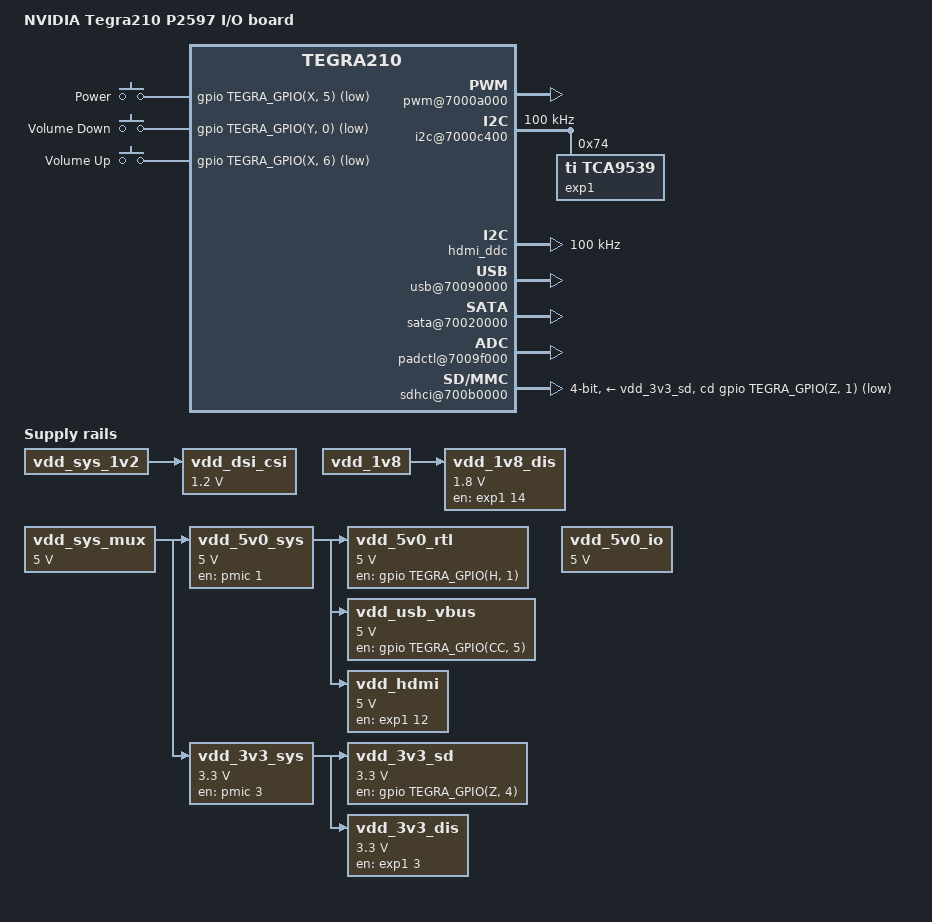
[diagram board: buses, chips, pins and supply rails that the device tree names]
// SPDX-License-Identifier: GPL-2.0
#include <dt-bindings/input/input.h>

/ {
	model = "NVIDIA Tegra210 P2597 I/O board";
	compatible = "nvidia,p2597", "nvidia,tegra210";

	host1x@50000000 {
		dpaux@54040000 {
			status = "okay";
		};

		sor@54580000 {
			status = "okay";

			avdd-io-supply = <&avdd_1v05>;
			vdd-pll-supply = <&vdd_1v8>;
			hdmi-supply = <&vdd_hdmi>;

			nvidia,ddc-i2c-bus = <&hdmi_ddc>;
			nvidia,hpd-gpio = <&gpio TEGRA_GPIO(CC, 1)
					   GPIO_ACTIVE_LOW>;
		};
	};

	pinmux: pinmux@700008d4 {
		pinctrl-names = "boot";
		pinctrl-0 = <&state_boot>;

		state_boot: pinmux {
			pex_l0_rst_n_pa0 {
				nvidia,pins = "pex_l0_rst_n_pa0";
				nvidia,function = "pe0";
				nvidia,pull = <TEGRA_PIN_PULL_NONE>;
				nvidia,tristate = <TEGRA_PIN_DISABLE>;
				nvidia,enable-input = <TEGRA_PIN_DISABLE>;
				nvidia,open-drain = <TEGRA_PIN_DISABLE>;
				nvidia,io-hv = <TEGRA_PIN_ENABLE>;
			};
			pex_l0_clkreq_n_pa1 {
				nvidia,pins = "pex_l0_clkreq_n_pa1";
				nvidia,function = "pe0";
				nvidia,pull = <TEGRA_PIN_PULL_NONE>;
				nvidia,tristate = <TEGRA_PIN_DISABLE>;
				nvidia,enable-input = <TEGRA_PIN_ENABLE>;
				nvidia,open-drain = <TEGRA_PIN_DISABLE>;
				nvidia,io-hv = <TEGRA_PIN_ENABLE>;
			};
			pex_wake_n_pa2 {
				nvidia,pins = "pex_wake_n_pa2";
				nvidia,function = "pe";
				nvidia,pull = <TEGRA_PIN_PULL_NONE>;
				nvidia,tristate = <TEGRA_PIN_DISABLE>;
				nvidia,enable-input = <TEGRA_PIN_ENABLE>;
				nvidia,open-drain = <TEGRA_PIN_DISABLE>;
				nvidia,io-hv = <TEGRA_PIN_ENABLE>;
			};
			pex_l1_rst_n_pa3 {
				nvidia,pins = "pex_l1_rst_n_pa3";
				nvidia,function = "pe1";
				nvidia,pull = <TEGRA_PIN_PULL_NONE>;
				nvidia,tristate = <TEGRA_PIN_DISABLE>;
				nvidia,enable-input = <TEGRA_PIN_DISABLE>;
				nvidia,open-drain = <TEGRA_PIN_DISABLE>;
				nvidia,io-hv = <TEGRA_PIN_ENABLE>;
			};
			pex_l1_clkreq_n_pa4 {
				nvidia,pins = "pex_l1_clkreq_n_pa4";
				nvidia,function = "pe1";
				nvidia,pull = <TEGRA_PIN_PULL_NONE>;
				nvidia,tristate = <TEGRA_PIN_DISABLE>;
				nvidia,enable-input = <TEGRA_PIN_ENABLE>;
				nvidia,open-drain = <TEGRA_PIN_DISABLE>;
				nvidia,io-hv = <TEGRA_PIN_ENABLE>;
			};
			sata_led_active_pa5 {
				nvidia,pins = "sata_led_active_pa5";
				nvidia,pull = <TEGRA_PIN_PULL_UP>;
				nvidia,tristate = <TEGRA_PIN_DISABLE>;
				nvidia,enable-input = <TEGRA_PIN_ENABLE>;
				nvidia,open-drain = <TEGRA_PIN_DISABLE>;
			};
			pa6 {
				nvidia,pins = "pa6";
				nvidia,function = "sata";
				nvidia,pull = <TEGRA_PIN_PULL_NONE>;
				nvidia,tristate = <TEGRA_PIN_DISABLE>;
				nvidia,enable-input = <TEGRA_PIN_DISABLE>;
				nvidia,open-drain = <TEGRA_PIN_DISABLE>;
			};
			dap1_fs_pb0 {
				nvidia,pins = "dap1_fs_pb0";
				nvidia,pull = <TEGRA_PIN_PULL_DOWN>;
				nvidia,tristate = <TEGRA_PIN_DISABLE>;
				nvidia,enable-input = <TEGRA_PIN_ENABLE>;
				nvidia,open-drain = <TEGRA_PIN_DISABLE>;
			};
			dap1_din_pb1 {
				nvidia,pins = "dap1_din_pb1";
				nvidia,pull = <TEGRA_PIN_PULL_DOWN>;
				nvidia,tristate = <TEGRA_PIN_DISABLE>;
				nvidia,enable-input = <TEGRA_PIN_ENABLE>;
				nvidia,open-drain = <TEGRA_PIN_DISABLE>;
			};
			dap1_dout_pb2 {
				nvidia,pins = "dap1_dout_pb2";
				nvidia,pull = <TEGRA_PIN_PULL_DOWN>;
				nvidia,tristate = <TEGRA_PIN_DISABLE>;
				nvidia,enable-input = <TEGRA_PIN_ENABLE>;
				nvidia,open-drain = <TEGRA_PIN_DISABLE>;
			};
			dap1_sclk_pb3 {
				nvidia,pins = "dap1_sclk_pb3";
				nvidia,pull = <TEGRA_PIN_PULL_DOWN>;
				nvidia,tristate = <TEGRA_PIN_DISABLE>;
				nvidia,enable-input = <TEGRA_PIN_ENABLE>;
				nvidia,open-drain = <TEGRA_PIN_DISABLE>;
			};
			spi2_mosi_pb4 {
				nvidia,pins = "spi2_mosi_pb4";
				nvidia,function = "spi2";
				nvidia,pull = <TEGRA_PIN_PULL_NONE>;
				nvidia,tristate = <TEGRA_PIN_DISABLE>;
				nvidia,enable-input = <TEGRA_PIN_ENABLE>;
				nvidia,open-drain = <TEGRA_PIN_DISABLE>;
			};
			spi2_miso_pb5 {
				nvidia,pins = "spi2_miso_pb5";
				nvidia,function = "spi2";
				nvidia,pull = <TEGRA_PIN_PULL_NONE>;
				nvidia,tristate = <TEGRA_PIN_DISABLE>;
				nvidia,enable-input = <TEGRA_PIN_ENABLE>;
				nvidia,open-drain = <TEGRA_PIN_DISABLE>;
			};
			spi2_sck_pb6 {
				nvidia,pins = "spi2_sck_pb6";
				nvidia,function = "spi2";
				nvidia,pull = <TEGRA_PIN_PULL_NONE>;
				nvidia,tristate = <TEGRA_PIN_DISABLE>;
				nvidia,enable-input = <TEGRA_PIN_ENABLE>;
				nvidia,open-drain = <TEGRA_PIN_DISABLE>;
			};
			spi2_cs0_pb7 {
				nvidia,pins = "spi2_cs0_pb7";
				nvidia,function = "spi2";
				nvidia,pull = <TEGRA_PIN_PULL_UP>;
				nvidia,tristate = <TEGRA_PIN_DISABLE>;
				nvidia,enable-input = <TEGRA_PIN_ENABLE>;
				nvidia,open-drain = <TEGRA_PIN_DISABLE>;
			};
			spi1_mosi_pc0 {
				nvidia,pins = "spi1_mosi_pc0";
				nvidia,pull = <TEGRA_PIN_PULL_DOWN>;
				nvidia,tristate = <TEGRA_PIN_DISABLE>;
				nvidia,enable-input = <TEGRA_PIN_ENABLE>;
				nvidia,open-drain = <TEGRA_PIN_DISABLE>;
			};
			spi1_miso_pc1 {
				nvidia,pins = "spi1_miso_pc1";
				nvidia,pull = <TEGRA_PIN_PULL_DOWN>;
				nvidia,tristate = <TEGRA_PIN_DISABLE>;
				nvidia,enable-input = <TEGRA_PIN_ENABLE>;
				nvidia,open-drain = <TEGRA_PIN_DISABLE>;
			};
			spi1_sck_pc2 {
				nvidia,pins = "spi1_sck_pc2";
				nvidia,pull = <TEGRA_PIN_PULL_DOWN>;
				nvidia,tristate = <TEGRA_PIN_DISABLE>;
				nvidia,enable-input = <TEGRA_PIN_ENABLE>;
				nvidia,open-drain = <TEGRA_PIN_DISABLE>;
			};
			spi1_cs0_pc3 {
				nvidia,pins = "spi1_cs0_pc3";
				nvidia,pull = <TEGRA_PIN_PULL_UP>;
				nvidia,tristate = <TEGRA_PIN_DISABLE>;
				nvidia,enable-input = <TEGRA_PIN_ENABLE>;
				nvidia,open-drain = <TEGRA_PIN_DISABLE>;
			};
			spi1_cs1_pc4 {
				nvidia,pins = "spi1_cs1_pc4";
				nvidia,pull = <TEGRA_PIN_PULL_UP>;
				nvidia,tristate = <TEGRA_PIN_DISABLE>;
				nvidia,enable-input = <TEGRA_PIN_ENABLE>;
				nvidia,open-drain = <TEGRA_PIN_DISABLE>;
			};
			spi4_sck_pc5 {
				nvidia,pins = "spi4_sck_pc5";
				nvidia,function = "spi4";
				nvidia,pull = <TEGRA_PIN_PULL_DOWN>;
				nvidia,tristate = <TEGRA_PIN_DISABLE>;
				nvidia,enable-input = <TEGRA_PIN_ENABLE>;
				nvidia,open-drain = <TEGRA_PIN_DISABLE>;
			};
			spi4_cs0_pc6 {
				nvidia,pins = "spi4_cs0_pc6";
				nvidia,function = "spi4";
				nvidia,pull = <TEGRA_PIN_PULL_UP>;
				nvidia,tristate = <TEGRA_PIN_DISABLE>;
				nvidia,enable-input = <TEGRA_PIN_ENABLE>;
				nvidia,open-drain = <TEGRA_PIN_DISABLE>;
			};
			spi4_mosi_pc7 {
				nvidia,pins = "spi4_mosi_pc7";
				nvidia,function = "spi4";
				nvidia,pull = <TEGRA_PIN_PULL_DOWN>;
				nvidia,tristate = <TEGRA_PIN_DISABLE>;
				nvidia,enable-input = <TEGRA_PIN_ENABLE>;
				nvidia,open-drain = <TEGRA_PIN_DISABLE>;
			};
			spi4_miso_pd0 {
				nvidia,pins = "spi4_miso_pd0";
				nvidia,function = "spi4";
				nvidia,pull = <TEGRA_PIN_PULL_DOWN>;
				nvidia,tristate = <TEGRA_PIN_DISABLE>;
				nvidia,enable-input = <TEGRA_PIN_ENABLE>;
				nvidia,open-drain = <TEGRA_PIN_DISABLE>;
			};
			uart3_tx_pd1 {
				nvidia,pins = "uart3_tx_pd1";
				nvidia,function = "uartc";
				nvidia,pull = <TEGRA_PIN_PULL_NONE>;
				nvidia,tristate = <TEGRA_PIN_DISABLE>;
				nvidia,enable-input = <TEGRA_PIN_DISABLE>;
				nvidia,open-drain = <TEGRA_PIN_DISABLE>;
			};
			uart3_rx_pd2 {
				nvidia,pins = "uart3_rx_pd2";
				nvidia,function = "uartc";
				nvidia,pull = <TEGRA_PIN_PULL_UP>;
				nvidia,tristate = <TEGRA_PIN_DISABLE>;
				nvidia,enable-input = <TEGRA_PIN_ENABLE>;
				nvidia,open-drain = <TEGRA_PIN_DISABLE>;
			};
			uart3_rts_pd3 {
				nvidia,pins = "uart3_rts_pd3";
				nvidia,function = "uartc";
				nvidia,pull = <TEGRA_PIN_PULL_NONE>;
				nvidia,tristate = <TEGRA_PIN_DISABLE>;
				nvidia,enable-input = <TEGRA_PIN_DISABLE>;
				nvidia,open-drain = <TEGRA_PIN_DISABLE>;
			};
			uart3_cts_pd4 {
				nvidia,pins = "uart3_cts_pd4";
				nvidia,function = "uartc";
				nvidia,pull = <TEGRA_PIN_PULL_UP>;
				nvidia,tristate = <TEGRA_PIN_DISABLE>;
				nvidia,enable-input = <TEGRA_PIN_ENABLE>;
				nvidia,open-drain = <TEGRA_PIN_DISABLE>;
			};
			dmic1_clk_pe0 {
				nvidia,pins = "dmic1_clk_pe0";
				nvidia,function = "i2s3";
				nvidia,pull = <TEGRA_PIN_PULL_NONE>;
				nvidia,tristate = <TEGRA_PIN_DISABLE>;
				nvidia,enable-input = <TEGRA_PIN_ENABLE>;
				nvidia,open-drain = <TEGRA_PIN_DISABLE>;
			};
			dmic1_dat_pe1 {
				nvidia,pins = "dmic1_dat_pe1";
				nvidia,function = "i2s3";
				nvidia,pull = <TEGRA_PIN_PULL_NONE>;
				nvidia,tristate = <TEGRA_PIN_DISABLE>;
				nvidia,enable-input = <TEGRA_PIN_ENABLE>;
				nvidia,open-drain = <TEGRA_PIN_DISABLE>;
			};
			dmic2_clk_pe2 {
				nvidia,pins = "dmic2_clk_pe2";
				nvidia,function = "i2s3";
				nvidia,pull = <TEGRA_PIN_PULL_NONE>;
				nvidia,tristate = <TEGRA_PIN_DISABLE>;
				nvidia,enable-input = <TEGRA_PIN_ENABLE>;
				nvidia,open-drain = <TEGRA_PIN_DISABLE>;
			};
			dmic2_dat_pe3 {
				nvidia,pins = "dmic2_dat_pe3";
				nvidia,function = "i2s3";
				nvidia,pull = <TEGRA_PIN_PULL_NONE>;
				nvidia,tristate = <TEGRA_PIN_DISABLE>;
				nvidia,enable-input = <TEGRA_PIN_ENABLE>;
				nvidia,open-drain = <TEGRA_PIN_DISABLE>;
			};
			dmic3_clk_pe4 {
				nvidia,pins = "dmic3_clk_pe4";
				nvidia,pull = <TEGRA_PIN_PULL_DOWN>;
				nvidia,tristate = <TEGRA_PIN_DISABLE>;
				nvidia,enable-input = <TEGRA_PIN_ENABLE>;
				nvidia,open-drain = <TEGRA_PIN_DISABLE>;
			};
			dmic3_dat_pe5 {
				nvidia,pins = "dmic3_dat_pe5";
				nvidia,pull = <TEGRA_PIN_PULL_DOWN>;
				nvidia,tristate = <TEGRA_PIN_DISABLE>;
				nvidia,enable-input = <TEGRA_PIN_ENABLE>;
				nvidia,open-drain = <TEGRA_PIN_DISABLE>;
			};
			pe6 {
				nvidia,pins = "pe6";
				nvidia,pull = <TEGRA_PIN_PULL_DOWN>;
				nvidia,tristate = <TEGRA_PIN_DISABLE>;
				nvidia,enable-input = <TEGRA_PIN_ENABLE>;
				nvidia,open-drain = <TEGRA_PIN_DISABLE>;
			};
			pe7 {
				nvidia,pins = "pe7";
				nvidia,function = "pwm3";
				nvidia,pull = <TEGRA_PIN_PULL_NONE>;
				nvidia,tristate = <TEGRA_PIN_DISABLE>;
				nvidia,enable-input = <TEGRA_PIN_DISABLE>;
				nvidia,open-drain = <TEGRA_PIN_DISABLE>;
			};
			gen3_i2c_scl_pf0 {
				nvidia,pins = "gen3_i2c_scl_pf0";
				nvidia,function = "i2c3";
				nvidia,pull = <TEGRA_PIN_PULL_NONE>;
				nvidia,tristate = <TEGRA_PIN_DISABLE>;
				nvidia,enable-input = <TEGRA_PIN_ENABLE>;
				nvidia,open-drain = <TEGRA_PIN_DISABLE>;
				nvidia,io-hv = <TEGRA_PIN_DISABLE>;
			};
			gen3_i2c_sda_pf1 {
				nvidia,pins = "gen3_i2c_sda_pf1";
				nvidia,function = "i2c3";
				nvidia,pull = <TEGRA_PIN_PULL_NONE>;
				nvidia,tristate = <TEGRA_PIN_DISABLE>;
				nvidia,enable-input = <TEGRA_PIN_ENABLE>;
				nvidia,open-drain = <TEGRA_PIN_DISABLE>;
				nvidia,io-hv = <TEGRA_PIN_DISABLE>;
			};
			uart2_tx_pg0 {
				nvidia,pins = "uart2_tx_pg0";
				nvidia,function = "uartb";
				nvidia,pull = <TEGRA_PIN_PULL_NONE>;
				nvidia,tristate = <TEGRA_PIN_DISABLE>;
				nvidia,enable-input = <TEGRA_PIN_DISABLE>;
				nvidia,open-drain = <TEGRA_PIN_DISABLE>;
			};
			uart2_rx_pg1 {
				nvidia,pins = "uart2_rx_pg1";
				nvidia,function = "uartb";
				nvidia,pull = <TEGRA_PIN_PULL_UP>;
				nvidia,tristate = <TEGRA_PIN_DISABLE>;
				nvidia,enable-input = <TEGRA_PIN_ENABLE>;
				nvidia,open-drain = <TEGRA_PIN_DISABLE>;
			};
			uart2_rts_pg2 {
				nvidia,pins = "uart2_rts_pg2";
				nvidia,function = "uartb";
				nvidia,pull = <TEGRA_PIN_PULL_NONE>;
				nvidia,tristate = <TEGRA_PIN_DISABLE>;
				nvidia,enable-input = <TEGRA_PIN_DISABLE>;
				nvidia,open-drain = <TEGRA_PIN_DISABLE>;
			};
			uart2_cts_pg3 {
				nvidia,pins = "uart2_cts_pg3";
				nvidia,function = "uartb";
				nvidia,pull = <TEGRA_PIN_PULL_UP>;
				nvidia,tristate = <TEGRA_PIN_DISABLE>;
				nvidia,enable-input = <TEGRA_PIN_ENABLE>;
				nvidia,open-drain = <TEGRA_PIN_DISABLE>;
			};
			wifi_en_ph0 {
				nvidia,pins = "wifi_en_ph0";
				nvidia,pull = <TEGRA_PIN_PULL_NONE>;
				nvidia,tristate = <TEGRA_PIN_DISABLE>;
				nvidia,enable-input = <TEGRA_PIN_DISABLE>;
				nvidia,open-drain = <TEGRA_PIN_DISABLE>;
			};
			wifi_rst_ph1 {
				nvidia,pins = "wifi_rst_ph1";
				nvidia,pull = <TEGRA_PIN_PULL_NONE>;
				nvidia,tristate = <TEGRA_PIN_DISABLE>;
				nvidia,enable-input = <TEGRA_PIN_DISABLE>;
				nvidia,open-drain = <TEGRA_PIN_DISABLE>;
			};
			wifi_wake_ap_ph2 {
				nvidia,pins = "wifi_wake_ap_ph2";
				nvidia,pull = <TEGRA_PIN_PULL_UP>;
				nvidia,tristate = <TEGRA_PIN_DISABLE>;
				nvidia,enable-input = <TEGRA_PIN_ENABLE>;
				nvidia,open-drain = <TEGRA_PIN_DISABLE>;
			};
			ap_wake_bt_ph3 {
				nvidia,pins = "ap_wake_bt_ph3";
				nvidia,pull = <TEGRA_PIN_PULL_NONE>;
				nvidia,tristate = <TEGRA_PIN_DISABLE>;
				nvidia,enable-input = <TEGRA_PIN_DISABLE>;
				nvidia,open-drain = <TEGRA_PIN_DISABLE>;
			};
			bt_rst_ph4 {
				nvidia,pins = "bt_rst_ph4";
				nvidia,pull = <TEGRA_PIN_PULL_NONE>;
				nvidia,tristate = <TEGRA_PIN_DISABLE>;
				nvidia,enable-input = <TEGRA_PIN_DISABLE>;
				nvidia,open-drain = <TEGRA_PIN_DISABLE>;
			};
			bt_wake_ap_ph5 {
				nvidia,pins = "bt_wake_ap_ph5";
				nvidia,pull = <TEGRA_PIN_PULL_UP>;
				nvidia,tristate = <TEGRA_PIN_DISABLE>;
				nvidia,enable-input = <TEGRA_PIN_ENABLE>;
				nvidia,open-drain = <TEGRA_PIN_DISABLE>;
			};
			ph6 {
				nvidia,pins = "ph6";
				nvidia,pull = <TEGRA_PIN_PULL_UP>;
				nvidia,tristate = <TEGRA_PIN_DISABLE>;
				nvidia,enable-input = <TEGRA_PIN_ENABLE>;
				nvidia,open-drain = <TEGRA_PIN_DISABLE>;
			};
			ap_wake_nfc_ph7 {
				nvidia,pins = "ap_wake_nfc_ph7";
				nvidia,pull = <TEGRA_PIN_PULL_DOWN>;
				nvidia,tristate = <TEGRA_PIN_DISABLE>;
				nvidia,enable-input = <TEGRA_PIN_ENABLE>;
				nvidia,open-drain = <TEGRA_PIN_DISABLE>;
			};
			nfc_en_pi0 {
				nvidia,pins = "nfc_en_pi0";
				nvidia,pull = <TEGRA_PIN_PULL_NONE>;
				nvidia,tristate = <TEGRA_PIN_DISABLE>;
				nvidia,enable-input = <TEGRA_PIN_DISABLE>;
				nvidia,open-drain = <TEGRA_PIN_DISABLE>;
			};
			nfc_int_pi1 {
				nvidia,pins = "nfc_int_pi1";
				nvidia,pull = <TEGRA_PIN_PULL_UP>;
				nvidia,tristate = <TEGRA_PIN_DISABLE>;
				nvidia,enable-input = <TEGRA_PIN_ENABLE>;
				nvidia,open-drain = <TEGRA_PIN_DISABLE>;
			};
			gps_en_pi2 {
				nvidia,pins = "gps_en_pi2";
				nvidia,pull = <TEGRA_PIN_PULL_NONE>;
				nvidia,tristate = <TEGRA_PIN_DISABLE>;
				nvidia,enable-input = <TEGRA_PIN_DISABLE>;
				nvidia,open-drain = <TEGRA_PIN_DISABLE>;
			};
			gps_rst_pi3 {
				nvidia,pins = "gps_rst_pi3";
				nvidia,function = "rsvd0";
				nvidia,pull = <TEGRA_PIN_PULL_DOWN>;
				nvidia,tristate = <TEGRA_PIN_ENABLE>;
				nvidia,enable-input = <TEGRA_PIN_DISABLE>;
				nvidia,open-drain = <TEGRA_PIN_DISABLE>;
			};
			uart4_tx_pi4 {
				nvidia,pins = "uart4_tx_pi4";
				nvidia,function = "uartd";
				nvidia,pull = <TEGRA_PIN_PULL_NONE>;
				nvidia,tristate = <TEGRA_PIN_DISABLE>;
				nvidia,enable-input = <TEGRA_PIN_DISABLE>;
				nvidia,open-drain = <TEGRA_PIN_DISABLE>;
			};
			uart4_rx_pi5 {
				nvidia,pins = "uart4_rx_pi5";
				nvidia,function = "uartd";
				nvidia,pull = <TEGRA_PIN_PULL_NONE>;
				nvidia,tristate = <TEGRA_PIN_DISABLE>;
				nvidia,enable-input = <TEGRA_PIN_ENABLE>;
				nvidia,open-drain = <TEGRA_PIN_DISABLE>;
			};
			uart4_rts_pi6 {
				nvidia,pins = "uart4_rts_pi6";
				nvidia,function = "uartd";
				nvidia,pull = <TEGRA_PIN_PULL_NONE>;
				nvidia,tristate = <TEGRA_PIN_DISABLE>;
				nvidia,enable-input = <TEGRA_PIN_DISABLE>;
				nvidia,open-drain = <TEGRA_PIN_DISABLE>;
			};
			uart4_cts_pi7 {
				nvidia,pins = "uart4_cts_pi7";
				nvidia,function = "uartd";
				nvidia,pull = <TEGRA_PIN_PULL_NONE>;
				nvidia,tristate = <TEGRA_PIN_DISABLE>;
				nvidia,enable-input = <TEGRA_PIN_ENABLE>;
				nvidia,open-drain = <TEGRA_PIN_DISABLE>;
			};
			gen1_i2c_sda_pj0 {
				nvidia,pins = "gen1_i2c_sda_pj0";
				nvidia,function = "i2c1";
				nvidia,pull = <TEGRA_PIN_PULL_NONE>;
				nvidia,tristate = <TEGRA_PIN_DISABLE>;
				nvidia,enable-input = <TEGRA_PIN_ENABLE>;
				nvidia,open-drain = <TEGRA_PIN_DISABLE>;
				nvidia,io-hv = <TEGRA_PIN_DISABLE>;
			};
			gen1_i2c_scl_pj1 {
				nvidia,pins = "gen1_i2c_scl_pj1";
				nvidia,function = "i2c1";
				nvidia,pull = <TEGRA_PIN_PULL_NONE>;
				nvidia,tristate = <TEGRA_PIN_DISABLE>;
				nvidia,enable-input = <TEGRA_PIN_ENABLE>;
				nvidia,open-drain = <TEGRA_PIN_DISABLE>;
				nvidia,io-hv = <TEGRA_PIN_DISABLE>;
			};
			gen2_i2c_scl_pj2 {
				nvidia,pins = "gen2_i2c_scl_pj2";
				nvidia,function = "i2c2";
				nvidia,pull = <TEGRA_PIN_PULL_NONE>;
				nvidia,tristate = <TEGRA_PIN_DISABLE>;
				nvidia,enable-input = <TEGRA_PIN_ENABLE>;
				nvidia,open-drain = <TEGRA_PIN_DISABLE>;
				nvidia,io-hv = <TEGRA_PIN_ENABLE>;
			};
			gen2_i2c_sda_pj3 {
				nvidia,pins = "gen2_i2c_sda_pj3";
				nvidia,function = "i2c2";
				nvidia,pull = <TEGRA_PIN_PULL_NONE>;
				nvidia,tristate = <TEGRA_PIN_DISABLE>;
				nvidia,enable-input = <TEGRA_PIN_ENABLE>;
				nvidia,open-drain = <TEGRA_PIN_DISABLE>;
				nvidia,io-hv = <TEGRA_PIN_ENABLE>;
			};
			dap4_fs_pj4 {
				nvidia,pins = "dap4_fs_pj4";
				nvidia,function = "i2s4b";
				nvidia,pull = <TEGRA_PIN_PULL_NONE>;
				nvidia,tristate = <TEGRA_PIN_DISABLE>;
				nvidia,enable-input = <TEGRA_PIN_ENABLE>;
				nvidia,open-drain = <TEGRA_PIN_DISABLE>;
			};
			dap4_din_pj5 {
				nvidia,pins = "dap4_din_pj5";
				nvidia,function = "i2s4b";
				nvidia,pull = <TEGRA_PIN_PULL_NONE>;
				nvidia,tristate = <TEGRA_PIN_DISABLE>;
				nvidia,enable-input = <TEGRA_PIN_ENABLE>;
				nvidia,open-drain = <TEGRA_PIN_DISABLE>;
			};
			dap4_dout_pj6 {
				nvidia,pins = "dap4_dout_pj6";
				nvidia,function = "i2s4b";
				nvidia,pull = <TEGRA_PIN_PULL_NONE>;
				nvidia,tristate = <TEGRA_PIN_DISABLE>;
				nvidia,enable-input = <TEGRA_PIN_ENABLE>;
				nvidia,open-drain = <TEGRA_PIN_DISABLE>;
			};
			dap4_sclk_pj7 {
				nvidia,pins = "dap4_sclk_pj7";
				nvidia,function = "i2s4b";
				nvidia,pull = <TEGRA_PIN_PULL_NONE>;
				nvidia,tristate = <TEGRA_PIN_DISABLE>;
				nvidia,enable-input = <TEGRA_PIN_ENABLE>;
				nvidia,open-drain = <TEGRA_PIN_DISABLE>;
			};
			pk0 {
				nvidia,pins = "pk0";
				nvidia,function = "i2s5b";
				nvidia,pull = <TEGRA_PIN_PULL_NONE>;
				nvidia,tristate = <TEGRA_PIN_DISABLE>;
				nvidia,enable-input = <TEGRA_PIN_ENABLE>;
				nvidia,open-drain = <TEGRA_PIN_DISABLE>;
			};
			pk1 {
				nvidia,pins = "pk1";
				nvidia,function = "i2s5b";
				nvidia,pull = <TEGRA_PIN_PULL_NONE>;
				nvidia,tristate = <TEGRA_PIN_DISABLE>;
				nvidia,enable-input = <TEGRA_PIN_ENABLE>;
				nvidia,open-drain = <TEGRA_PIN_DISABLE>;
			};
			pk2 {
				nvidia,pins = "pk2";
				nvidia,function = "i2s5b";
				nvidia,pull = <TEGRA_PIN_PULL_NONE>;
				nvidia,tristate = <TEGRA_PIN_DISABLE>;
				nvidia,enable-input = <TEGRA_PIN_ENABLE>;
				nvidia,open-drain = <TEGRA_PIN_DISABLE>;
			};
			pk3 {
				nvidia,pins = "pk3";
				nvidia,function = "i2s5b";
				nvidia,pull = <TEGRA_PIN_PULL_NONE>;
				nvidia,tristate = <TEGRA_PIN_DISABLE>;
				nvidia,enable-input = <TEGRA_PIN_ENABLE>;
				nvidia,open-drain = <TEGRA_PIN_DISABLE>;
			};
			pk4 {
				nvidia,pins = "pk4";
				nvidia,pull = <TEGRA_PIN_PULL_UP>;
				nvidia,tristate = <TEGRA_PIN_DISABLE>;
				nvidia,enable-input = <TEGRA_PIN_ENABLE>;
				nvidia,open-drain = <TEGRA_PIN_DISABLE>;
			};
			pk5 {
				nvidia,pins = "pk5";
				nvidia,pull = <TEGRA_PIN_PULL_NONE>;
				nvidia,tristate = <TEGRA_PIN_DISABLE>;
				nvidia,enable-input = <TEGRA_PIN_DISABLE>;
				nvidia,open-drain = <TEGRA_PIN_DISABLE>;
			};
			pk6 {
				nvidia,pins = "pk6";
				nvidia,pull = <TEGRA_PIN_PULL_UP>;
				nvidia,tristate = <TEGRA_PIN_DISABLE>;
				nvidia,enable-input = <TEGRA_PIN_ENABLE>;
				nvidia,open-drain = <TEGRA_PIN_DISABLE>;
			};
			pk7 {
				nvidia,pins = "pk7";
				nvidia,pull = <TEGRA_PIN_PULL_UP>;
				nvidia,tristate = <TEGRA_PIN_DISABLE>;
				nvidia,enable-input = <TEGRA_PIN_ENABLE>;
				nvidia,open-drain = <TEGRA_PIN_DISABLE>;
			};
			pl0 {
				nvidia,pins = "pl0";
				nvidia,function = "rsvd0";
				nvidia,pull = <TEGRA_PIN_PULL_DOWN>;
				nvidia,tristate = <TEGRA_PIN_ENABLE>;
				nvidia,enable-input = <TEGRA_PIN_DISABLE>;
				nvidia,open-drain = <TEGRA_PIN_DISABLE>;
			};
			pl1 {
				nvidia,pins = "pl1";
				nvidia,pull = <TEGRA_PIN_PULL_UP>;
				nvidia,tristate = <TEGRA_PIN_DISABLE>;
				nvidia,enable-input = <TEGRA_PIN_ENABLE>;
				nvidia,open-drain = <TEGRA_PIN_DISABLE>;
			};
			sdmmc1_clk_pm0 {
				nvidia,pins = "sdmmc1_clk_pm0";
				nvidia,function = "sdmmc1";
				nvidia,pull = <TEGRA_PIN_PULL_NONE>;
				nvidia,tristate = <TEGRA_PIN_DISABLE>;
				nvidia,enable-input = <TEGRA_PIN_ENABLE>;
				nvidia,open-drain = <TEGRA_PIN_DISABLE>;
			};
			sdmmc1_cmd_pm1 {
				nvidia,pins = "sdmmc1_cmd_pm1";
				nvidia,function = "sdmmc1";
				nvidia,pull = <TEGRA_PIN_PULL_UP>;
				nvidia,tristate = <TEGRA_PIN_DISABLE>;
				nvidia,enable-input = <TEGRA_PIN_ENABLE>;
				nvidia,open-drain = <TEGRA_PIN_DISABLE>;
			};
			sdmmc1_dat3_pm2 {
				nvidia,pins = "sdmmc1_dat3_pm2";
				nvidia,function = "sdmmc1";
				nvidia,pull = <TEGRA_PIN_PULL_UP>;
				nvidia,tristate = <TEGRA_PIN_DISABLE>;
				nvidia,enable-input = <TEGRA_PIN_ENABLE>;
				nvidia,open-drain = <TEGRA_PIN_DISABLE>;
			};
			sdmmc1_dat2_pm3 {
				nvidia,pins = "sdmmc1_dat2_pm3";
				nvidia,function = "sdmmc1";
				nvidia,pull = <TEGRA_PIN_PULL_UP>;
				nvidia,tristate = <TEGRA_PIN_DISABLE>;
				nvidia,enable-input = <TEGRA_PIN_ENABLE>;
				nvidia,open-drain = <TEGRA_PIN_DISABLE>;
			};
			sdmmc1_dat1_pm4 {
				nvidia,pins = "sdmmc1_dat1_pm4";
				nvidia,function = "sdmmc1";
				nvidia,pull = <TEGRA_PIN_PULL_UP>;
				nvidia,tristate = <TEGRA_PIN_DISABLE>;
				nvidia,enable-input = <TEGRA_PIN_ENABLE>;
				nvidia,open-drain = <TEGRA_PIN_DISABLE>;
			};
			sdmmc1_dat0_pm5 {
				nvidia,pins = "sdmmc1_dat0_pm5";
				nvidia,function = "sdmmc1";
				nvidia,pull = <TEGRA_PIN_PULL_UP>;
				nvidia,tristate = <TEGRA_PIN_DISABLE>;
				nvidia,enable-input = <TEGRA_PIN_ENABLE>;
				nvidia,open-drain = <TEGRA_PIN_DISABLE>;
			};
			sdmmc3_clk_pp0 {
				nvidia,pins = "sdmmc3_clk_pp0";
				nvidia,function = "sdmmc3";
				nvidia,pull = <TEGRA_PIN_PULL_NONE>;
				nvidia,tristate = <TEGRA_PIN_DISABLE>;
				nvidia,enable-input = <TEGRA_PIN_ENABLE>;
				nvidia,open-drain = <TEGRA_PIN_DISABLE>;
			};
			sdmmc3_cmd_pp1 {
				nvidia,pins = "sdmmc3_cmd_pp1";
				nvidia,function = "sdmmc3";
				nvidia,pull = <TEGRA_PIN_PULL_UP>;
				nvidia,tristate = <TEGRA_PIN_DISABLE>;
				nvidia,enable-input = <TEGRA_PIN_ENABLE>;
				nvidia,open-drain = <TEGRA_PIN_DISABLE>;
			};
			sdmmc3_dat3_pp2 {
				nvidia,pins = "sdmmc3_dat3_pp2";
				nvidia,function = "sdmmc3";
				nvidia,pull = <TEGRA_PIN_PULL_UP>;
				nvidia,tristate = <TEGRA_PIN_DISABLE>;
				nvidia,enable-input = <TEGRA_PIN_ENABLE>;
				nvidia,open-drain = <TEGRA_PIN_DISABLE>;
			};
			sdmmc3_dat2_pp3 {
				nvidia,pins = "sdmmc3_dat2_pp3";
				nvidia,function = "sdmmc3";
				nvidia,pull = <TEGRA_PIN_PULL_UP>;
				nvidia,tristate = <TEGRA_PIN_DISABLE>;
				nvidia,enable-input = <TEGRA_PIN_ENABLE>;
				nvidia,open-drain = <TEGRA_PIN_DISABLE>;
			};
			sdmmc3_dat1_pp4 {
				nvidia,pins = "sdmmc3_dat1_pp4";
				nvidia,function = "sdmmc3";
				nvidia,pull = <TEGRA_PIN_PULL_UP>;
				nvidia,tristate = <TEGRA_PIN_DISABLE>;
				nvidia,enable-input = <TEGRA_PIN_ENABLE>;
				nvidia,open-drain = <TEGRA_PIN_DISABLE>;
			};
			sdmmc3_dat0_pp5 {
				nvidia,pins = "sdmmc3_dat0_pp5";
				nvidia,function = "sdmmc3";
				nvidia,pull = <TEGRA_PIN_PULL_UP>;
				nvidia,tristate = <TEGRA_PIN_DISABLE>;
				nvidia,enable-input = <TEGRA_PIN_ENABLE>;
				nvidia,open-drain = <TEGRA_PIN_DISABLE>;
			};
			cam1_mclk_ps0 {
				nvidia,pins = "cam1_mclk_ps0";
				nvidia,function = "extperiph3";
				nvidia,pull = <TEGRA_PIN_PULL_NONE>;
				nvidia,tristate = <TEGRA_PIN_DISABLE>;
				nvidia,enable-input = <TEGRA_PIN_DISABLE>;
				nvidia,open-drain = <TEGRA_PIN_DISABLE>;
			};
			cam2_mclk_ps1 {
				nvidia,pins = "cam2_mclk_ps1";
				nvidia,function = "extperiph3";
				nvidia,pull = <TEGRA_PIN_PULL_NONE>;
				nvidia,tristate = <TEGRA_PIN_DISABLE>;
				nvidia,enable-input = <TEGRA_PIN_DISABLE>;
				nvidia,open-drain = <TEGRA_PIN_DISABLE>;
			};
			cam_i2c_scl_ps2 {
				nvidia,pins = "cam_i2c_scl_ps2";
				nvidia,function = "i2cvi";
				nvidia,pull = <TEGRA_PIN_PULL_NONE>;
				nvidia,tristate = <TEGRA_PIN_DISABLE>;
				nvidia,enable-input = <TEGRA_PIN_ENABLE>;
				nvidia,open-drain = <TEGRA_PIN_DISABLE>;
				nvidia,io-hv = <TEGRA_PIN_DISABLE>;
			};
			cam_i2c_sda_ps3 {
				nvidia,pins = "cam_i2c_sda_ps3";
				nvidia,function = "i2cvi";
				nvidia,pull = <TEGRA_PIN_PULL_NONE>;
				nvidia,tristate = <TEGRA_PIN_DISABLE>;
				nvidia,enable-input = <TEGRA_PIN_ENABLE>;
				nvidia,open-drain = <TEGRA_PIN_DISABLE>;
				nvidia,io-hv = <TEGRA_PIN_DISABLE>;
			};
			cam_rst_ps4 {
				nvidia,pins = "cam_rst_ps4";
				nvidia,pull = <TEGRA_PIN_PULL_NONE>;
				nvidia,tristate = <TEGRA_PIN_DISABLE>;
				nvidia,enable-input = <TEGRA_PIN_DISABLE>;
				nvidia,open-drain = <TEGRA_PIN_DISABLE>;
			};
			cam_af_en_ps5 {
				nvidia,pins = "cam_af_en_ps5";
				nvidia,pull = <TEGRA_PIN_PULL_NONE>;
				nvidia,tristate = <TEGRA_PIN_DISABLE>;
				nvidia,enable-input = <TEGRA_PIN_DISABLE>;
				nvidia,open-drain = <TEGRA_PIN_DISABLE>;
			};
			cam_flash_en_ps6 {
				nvidia,pins = "cam_flash_en_ps6";
				nvidia,pull = <TEGRA_PIN_PULL_NONE>;
				nvidia,tristate = <TEGRA_PIN_DISABLE>;
				nvidia,enable-input = <TEGRA_PIN_DISABLE>;
				nvidia,open-drain = <TEGRA_PIN_DISABLE>;
			};
			cam1_pwdn_ps7 {
				nvidia,pins = "cam1_pwdn_ps7";
				nvidia,pull = <TEGRA_PIN_PULL_NONE>;
				nvidia,tristate = <TEGRA_PIN_DISABLE>;
				nvidia,enable-input = <TEGRA_PIN_DISABLE>;
				nvidia,open-drain = <TEGRA_PIN_DISABLE>;
			};
			cam2_pwdn_pt0 {
				nvidia,pins = "cam2_pwdn_pt0";
				nvidia,pull = <TEGRA_PIN_PULL_NONE>;
				nvidia,tristate = <TEGRA_PIN_DISABLE>;
				nvidia,enable-input = <TEGRA_PIN_DISABLE>;
				nvidia,open-drain = <TEGRA_PIN_DISABLE>;
			};
			cam1_strobe_pt1 {
				nvidia,pins = "cam1_strobe_pt1";
				nvidia,pull = <TEGRA_PIN_PULL_NONE>;
				nvidia,tristate = <TEGRA_PIN_DISABLE>;
				nvidia,enable-input = <TEGRA_PIN_DISABLE>;
				nvidia,open-drain = <TEGRA_PIN_DISABLE>;
			};
			uart1_tx_pu0 {
				nvidia,pins = "uart1_tx_pu0";
				nvidia,function = "uarta";
				nvidia,pull = <TEGRA_PIN_PULL_NONE>;
				nvidia,tristate = <TEGRA_PIN_DISABLE>;
				nvidia,enable-input = <TEGRA_PIN_DISABLE>;
				nvidia,open-drain = <TEGRA_PIN_DISABLE>;
			};
			uart1_rx_pu1 {
				nvidia,pins = "uart1_rx_pu1";
				nvidia,function = "uarta";
				nvidia,pull = <TEGRA_PIN_PULL_UP>;
				nvidia,tristate = <TEGRA_PIN_DISABLE>;
				nvidia,enable-input = <TEGRA_PIN_ENABLE>;
				nvidia,open-drain = <TEGRA_PIN_DISABLE>;
			};
			uart1_rts_pu2 {
				nvidia,pins = "uart1_rts_pu2";
				nvidia,pull = <TEGRA_PIN_PULL_DOWN>;
				nvidia,tristate = <TEGRA_PIN_DISABLE>;
				nvidia,enable-input = <TEGRA_PIN_ENABLE>;
				nvidia,open-drain = <TEGRA_PIN_DISABLE>;
			};
			uart1_cts_pu3 {
				nvidia,pins = "uart1_cts_pu3";
				nvidia,pull = <TEGRA_PIN_PULL_DOWN>;
				nvidia,tristate = <TEGRA_PIN_DISABLE>;
				nvidia,enable-input = <TEGRA_PIN_ENABLE>;
				nvidia,open-drain = <TEGRA_PIN_DISABLE>;
			};
			lcd_bl_pwm_pv0 {
				nvidia,pins = "lcd_bl_pwm_pv0";
				nvidia,function = "pwm0";
				nvidia,pull = <TEGRA_PIN_PULL_NONE>;
				nvidia,tristate = <TEGRA_PIN_DISABLE>;
				nvidia,enable-input = <TEGRA_PIN_DISABLE>;
				nvidia,open-drain = <TEGRA_PIN_DISABLE>;
			};
			lcd_bl_en_pv1 {
				nvidia,pins = "lcd_bl_en_pv1";
				nvidia,pull = <TEGRA_PIN_PULL_NONE>;
				nvidia,tristate = <TEGRA_PIN_DISABLE>;
				nvidia,enable-input = <TEGRA_PIN_DISABLE>;
				nvidia,open-drain = <TEGRA_PIN_DISABLE>;
			};
			lcd_rst_pv2 {
				nvidia,pins = "lcd_rst_pv2";
				nvidia,pull = <TEGRA_PIN_PULL_NONE>;
				nvidia,tristate = <TEGRA_PIN_DISABLE>;
				nvidia,enable-input = <TEGRA_PIN_DISABLE>;
				nvidia,open-drain = <TEGRA_PIN_DISABLE>;
			};
			lcd_gpio1_pv3 {
				nvidia,pins = "lcd_gpio1_pv3";
				nvidia,pull = <TEGRA_PIN_PULL_NONE>;
				nvidia,tristate = <TEGRA_PIN_DISABLE>;
				nvidia,enable-input = <TEGRA_PIN_ENABLE>;
				nvidia,open-drain = <TEGRA_PIN_DISABLE>;
			};
			lcd_gpio2_pv4 {
				nvidia,pins = "lcd_gpio2_pv4";
				nvidia,function = "pwm1";
				nvidia,pull = <TEGRA_PIN_PULL_NONE>;
				nvidia,tristate = <TEGRA_PIN_DISABLE>;
				nvidia,enable-input = <TEGRA_PIN_DISABLE>;
				nvidia,open-drain = <TEGRA_PIN_DISABLE>;
			};
			ap_ready_pv5 {
				nvidia,pins = "ap_ready_pv5";
				nvidia,pull = <TEGRA_PIN_PULL_NONE>;
				nvidia,tristate = <TEGRA_PIN_DISABLE>;
				nvidia,enable-input = <TEGRA_PIN_DISABLE>;
				nvidia,open-drain = <TEGRA_PIN_DISABLE>;
			};
			touch_rst_pv6 {
				nvidia,pins = "touch_rst_pv6";
				nvidia,pull = <TEGRA_PIN_PULL_NONE>;
				nvidia,tristate = <TEGRA_PIN_DISABLE>;
				nvidia,enable-input = <TEGRA_PIN_DISABLE>;
				nvidia,open-drain = <TEGRA_PIN_DISABLE>;
			};
			touch_clk_pv7 {
				nvidia,pins = "touch_clk_pv7";
				nvidia,function = "touch";
				nvidia,pull = <TEGRA_PIN_PULL_NONE>;
				nvidia,tristate = <TEGRA_PIN_DISABLE>;
				nvidia,enable-input = <TEGRA_PIN_DISABLE>;
				nvidia,open-drain = <TEGRA_PIN_DISABLE>;
			};
			modem_wake_ap_px0 {
				nvidia,pins = "modem_wake_ap_px0";
				nvidia,pull = <TEGRA_PIN_PULL_DOWN>;
				nvidia,tristate = <TEGRA_PIN_DISABLE>;
				nvidia,enable-input = <TEGRA_PIN_ENABLE>;
				nvidia,open-drain = <TEGRA_PIN_DISABLE>;
			};
			touch_int_px1 {
				nvidia,pins = "touch_int_px1";
				nvidia,pull = <TEGRA_PIN_PULL_UP>;
				nvidia,tristate = <TEGRA_PIN_DISABLE>;
				nvidia,enable-input = <TEGRA_PIN_ENABLE>;
				nvidia,open-drain = <TEGRA_PIN_DISABLE>;
			};
			motion_int_px2 {
				nvidia,pins = "motion_int_px2";
				nvidia,pull = <TEGRA_PIN_PULL_UP>;
				nvidia,tristate = <TEGRA_PIN_DISABLE>;
				nvidia,enable-input = <TEGRA_PIN_ENABLE>;
				nvidia,open-drain = <TEGRA_PIN_DISABLE>;
			};
			als_prox_int_px3 {
				nvidia,pins = "als_prox_int_px3";
				nvidia,pull = <TEGRA_PIN_PULL_DOWN>;
				nvidia,tristate = <TEGRA_PIN_DISABLE>;
				nvidia,enable-input = <TEGRA_PIN_ENABLE>;
				nvidia,open-drain = <TEGRA_PIN_DISABLE>;
			};
			temp_alert_px4 {
				nvidia,pins = "temp_alert_px4";
				nvidia,pull = <TEGRA_PIN_PULL_UP>;
				nvidia,tristate = <TEGRA_PIN_DISABLE>;
				nvidia,enable-input = <TEGRA_PIN_ENABLE>;
				nvidia,open-drain = <TEGRA_PIN_DISABLE>;
			};
			button_power_on_px5 {
				nvidia,pins = "button_power_on_px5";
				nvidia,pull = <TEGRA_PIN_PULL_UP>;
				nvidia,tristate = <TEGRA_PIN_DISABLE>;
				nvidia,enable-input = <TEGRA_PIN_ENABLE>;
				nvidia,open-drain = <TEGRA_PIN_DISABLE>;
			};
			button_vol_up_px6 {
				nvidia,pins = "button_vol_up_px6";
				nvidia,pull = <TEGRA_PIN_PULL_UP>;
				nvidia,tristate = <TEGRA_PIN_DISABLE>;
				nvidia,enable-input = <TEGRA_PIN_ENABLE>;
				nvidia,open-drain = <TEGRA_PIN_DISABLE>;
			};
			button_vol_down_px7 {
				nvidia,pins = "button_vol_down_px7";
				nvidia,pull = <TEGRA_PIN_PULL_UP>;
				nvidia,tristate = <TEGRA_PIN_DISABLE>;
				nvidia,enable-input = <TEGRA_PIN_ENABLE>;
				nvidia,open-drain = <TEGRA_PIN_DISABLE>;
			};
			button_slide_sw_py0 {
				nvidia,pins = "button_slide_sw_py0";
				nvidia,pull = <TEGRA_PIN_PULL_UP>;
				nvidia,tristate = <TEGRA_PIN_DISABLE>;
				nvidia,enable-input = <TEGRA_PIN_ENABLE>;
				nvidia,open-drain = <TEGRA_PIN_DISABLE>;
			};
			button_home_py1 {
				nvidia,pins = "button_home_py1";
				nvidia,pull = <TEGRA_PIN_PULL_UP>;
				nvidia,tristate = <TEGRA_PIN_DISABLE>;
				nvidia,enable-input = <TEGRA_PIN_ENABLE>;
				nvidia,open-drain = <TEGRA_PIN_DISABLE>;
			};
			lcd_te_py2 {
				nvidia,pins = "lcd_te_py2";
				nvidia,function = "displaya";
				nvidia,pull = <TEGRA_PIN_PULL_DOWN>;
				nvidia,tristate = <TEGRA_PIN_DISABLE>;
				nvidia,enable-input = <TEGRA_PIN_ENABLE>;
				nvidia,open-drain = <TEGRA_PIN_DISABLE>;
			};
			pwr_i2c_scl_py3 {
				nvidia,pins = "pwr_i2c_scl_py3";
				nvidia,function = "i2cpmu";
				nvidia,pull = <TEGRA_PIN_PULL_NONE>;
				nvidia,tristate = <TEGRA_PIN_DISABLE>;
				nvidia,enable-input = <TEGRA_PIN_ENABLE>;
				nvidia,open-drain = <TEGRA_PIN_DISABLE>;
				nvidia,io-hv = <TEGRA_PIN_DISABLE>;
			};
			pwr_i2c_sda_py4 {
				nvidia,pins = "pwr_i2c_sda_py4";
				nvidia,function = "i2cpmu";
				nvidia,pull = <TEGRA_PIN_PULL_NONE>;
				nvidia,tristate = <TEGRA_PIN_DISABLE>;
				nvidia,enable-input = <TEGRA_PIN_ENABLE>;
				nvidia,open-drain = <TEGRA_PIN_DISABLE>;
				nvidia,io-hv = <TEGRA_PIN_DISABLE>;
			};
			clk_32k_out_py5 {
				nvidia,pins = "clk_32k_out_py5";
				nvidia,function = "soc";
				nvidia,pull = <TEGRA_PIN_PULL_UP>;
				nvidia,tristate = <TEGRA_PIN_DISABLE>;
				nvidia,enable-input = <TEGRA_PIN_ENABLE>;
				nvidia,open-drain = <TEGRA_PIN_DISABLE>;
			};
			pz0 {
				nvidia,pins = "pz0";
				nvidia,pull = <TEGRA_PIN_PULL_UP>;
				nvidia,tristate = <TEGRA_PIN_DISABLE>;
				nvidia,enable-input = <TEGRA_PIN_ENABLE>;
				nvidia,open-drain = <TEGRA_PIN_DISABLE>;
			};
			pz1 {
				nvidia,pins = "pz1";
				nvidia,function = "sdmmc1";
				nvidia,pull = <TEGRA_PIN_PULL_UP>;
				nvidia,tristate = <TEGRA_PIN_DISABLE>;
				nvidia,enable-input = <TEGRA_PIN_ENABLE>;
				nvidia,open-drain = <TEGRA_PIN_DISABLE>;
			};
			pz2 {
				nvidia,pins = "pz2";
				nvidia,pull = <TEGRA_PIN_PULL_UP>;
				nvidia,tristate = <TEGRA_PIN_DISABLE>;
				nvidia,enable-input = <TEGRA_PIN_ENABLE>;
				nvidia,open-drain = <TEGRA_PIN_DISABLE>;
			};
			pz3 {
				nvidia,pins = "pz3";
				nvidia,pull = <TEGRA_PIN_PULL_NONE>;
				nvidia,tristate = <TEGRA_PIN_DISABLE>;
				nvidia,enable-input = <TEGRA_PIN_DISABLE>;
				nvidia,open-drain = <TEGRA_PIN_DISABLE>;
			};
			pz4 {
				nvidia,pins = "pz4";
				nvidia,function = "sdmmc1";
				nvidia,pull = <TEGRA_PIN_PULL_UP>;
				nvidia,tristate = <TEGRA_PIN_DISABLE>;
				nvidia,enable-input = <TEGRA_PIN_ENABLE>;
				nvidia,open-drain = <TEGRA_PIN_DISABLE>;
			};
			pz5 {
				nvidia,pins = "pz5";
				nvidia,function = "soc";
				nvidia,pull = <TEGRA_PIN_PULL_UP>;
				nvidia,tristate = <TEGRA_PIN_DISABLE>;
				nvidia,enable-input = <TEGRA_PIN_ENABLE>;
				nvidia,open-drain = <TEGRA_PIN_DISABLE>;
			};
			dap2_fs_paa0 {
				nvidia,pins = "dap2_fs_paa0";
				nvidia,function = "i2s2";
				nvidia,pull = <TEGRA_PIN_PULL_NONE>;
				nvidia,tristate = <TEGRA_PIN_DISABLE>;
				nvidia,enable-input = <TEGRA_PIN_ENABLE>;
				nvidia,open-drain = <TEGRA_PIN_DISABLE>;
			};
			dap2_sclk_paa1 {
				nvidia,pins = "dap2_sclk_paa1";
				nvidia,function = "i2s2";
				nvidia,pull = <TEGRA_PIN_PULL_NONE>;
				nvidia,tristate = <TEGRA_PIN_DISABLE>;
				nvidia,enable-input = <TEGRA_PIN_ENABLE>;
				nvidia,open-drain = <TEGRA_PIN_DISABLE>;
			};
			dap2_din_paa2 {
				nvidia,pins = "dap2_din_paa2";
				nvidia,function = "i2s2";
				nvidia,pull = <TEGRA_PIN_PULL_NONE>;
				nvidia,tristate = <TEGRA_PIN_DISABLE>;
				nvidia,enable-input = <TEGRA_PIN_ENABLE>;
				nvidia,open-drain = <TEGRA_PIN_DISABLE>;
			};
			dap2_dout_paa3 {
				nvidia,pins = "dap2_dout_paa3";
				nvidia,function = "i2s2";
				nvidia,pull = <TEGRA_PIN_PULL_NONE>;
				nvidia,tristate = <TEGRA_PIN_DISABLE>;
				nvidia,enable-input = <TEGRA_PIN_ENABLE>;
				nvidia,open-drain = <TEGRA_PIN_DISABLE>;
			};
			aud_mclk_pbb0 {
				nvidia,pins = "aud_mclk_pbb0";
				nvidia,pull = <TEGRA_PIN_PULL_UP>;
				nvidia,tristate = <TEGRA_PIN_DISABLE>;
				nvidia,enable-input = <TEGRA_PIN_ENABLE>;
				nvidia,open-drain = <TEGRA_PIN_DISABLE>;
			};
			dvfs_pwm_pbb1 {
				nvidia,pins = "dvfs_pwm_pbb1";
				nvidia,function = "cldvfs";
				nvidia,pull = <TEGRA_PIN_PULL_NONE>;
				nvidia,tristate = <TEGRA_PIN_ENABLE>;
				nvidia,enable-input = <TEGRA_PIN_DISABLE>;
				nvidia,open-drain = <TEGRA_PIN_DISABLE>;
			};
			dvfs_clk_pbb2 {
				nvidia,pins = "dvfs_clk_pbb2";
				nvidia,pull = <TEGRA_PIN_PULL_NONE>;
				nvidia,tristate = <TEGRA_PIN_DISABLE>;
				nvidia,enable-input = <TEGRA_PIN_DISABLE>;
				nvidia,open-drain = <TEGRA_PIN_DISABLE>;
			};
			gpio_x1_aud_pbb3 {
				nvidia,pins = "gpio_x1_aud_pbb3";
				nvidia,pull = <TEGRA_PIN_PULL_UP>;
				nvidia,tristate = <TEGRA_PIN_DISABLE>;
				nvidia,enable-input = <TEGRA_PIN_ENABLE>;
				nvidia,open-drain = <TEGRA_PIN_DISABLE>;
			};
			gpio_x3_aud_pbb4 {
				nvidia,pins = "gpio_x3_aud_pbb4";
				nvidia,function = "rsvd0";
				nvidia,pull = <TEGRA_PIN_PULL_DOWN>;
				nvidia,tristate = <TEGRA_PIN_ENABLE>;
				nvidia,enable-input = <TEGRA_PIN_DISABLE>;
				nvidia,open-drain = <TEGRA_PIN_DISABLE>;
			};
			hdmi_cec_pcc0 {
				nvidia,pins = "hdmi_cec_pcc0";
				nvidia,function = "cec";
				nvidia,pull = <TEGRA_PIN_PULL_NONE>;
				nvidia,tristate = <TEGRA_PIN_DISABLE>;
				nvidia,enable-input = <TEGRA_PIN_ENABLE>;
				nvidia,open-drain = <TEGRA_PIN_DISABLE>;
				nvidia,io-hv = <TEGRA_PIN_ENABLE>;
			};
			hdmi_int_dp_hpd_pcc1 {
				nvidia,pins = "hdmi_int_dp_hpd_pcc1";
				nvidia,pull = <TEGRA_PIN_PULL_DOWN>;
				nvidia,tristate = <TEGRA_PIN_DISABLE>;
				nvidia,enable-input = <TEGRA_PIN_ENABLE>;
				nvidia,open-drain = <TEGRA_PIN_DISABLE>;
				nvidia,io-hv = <TEGRA_PIN_DISABLE>;
			};
			spdif_out_pcc2 {
				nvidia,pins = "spdif_out_pcc2";
				nvidia,function = "rsvd1";
				nvidia,pull = <TEGRA_PIN_PULL_DOWN>;
				nvidia,tristate = <TEGRA_PIN_ENABLE>;
				nvidia,enable-input = <TEGRA_PIN_DISABLE>;
				nvidia,open-drain = <TEGRA_PIN_DISABLE>;
			};
			spdif_in_pcc3 {
				nvidia,pins = "spdif_in_pcc3";
				nvidia,function = "rsvd1";
				nvidia,pull = <TEGRA_PIN_PULL_DOWN>;
				nvidia,tristate = <TEGRA_PIN_ENABLE>;
				nvidia,enable-input = <TEGRA_PIN_DISABLE>;
				nvidia,open-drain = <TEGRA_PIN_DISABLE>;
			};
			usb_vbus_en0_pcc4 {
				nvidia,pins = "usb_vbus_en0_pcc4";
				nvidia,function = "usb";
				nvidia,pull = <TEGRA_PIN_PULL_NONE>;
				nvidia,tristate = <TEGRA_PIN_DISABLE>;
				nvidia,enable-input = <TEGRA_PIN_ENABLE>;
				nvidia,open-drain = <TEGRA_PIN_DISABLE>;
				nvidia,io-hv = <TEGRA_PIN_ENABLE>;
			};
			usb_vbus_en1_pcc5 {
				nvidia,pins = "usb_vbus_en1_pcc5";
				nvidia,function = "usb";
				nvidia,pull = <TEGRA_PIN_PULL_NONE>;
				nvidia,tristate = <TEGRA_PIN_DISABLE>;
				nvidia,enable-input = <TEGRA_PIN_ENABLE>;
				nvidia,open-drain = <TEGRA_PIN_DISABLE>;
				nvidia,io-hv = <TEGRA_PIN_ENABLE>;
			};
			dp_hpd0_pcc6 {
				nvidia,pins = "dp_hpd0_pcc6";
				nvidia,function = "dp";
				nvidia,pull = <TEGRA_PIN_PULL_DOWN>;
				nvidia,tristate = <TEGRA_PIN_DISABLE>;
				nvidia,enable-input = <TEGRA_PIN_ENABLE>;
				nvidia,open-drain = <TEGRA_PIN_DISABLE>;
			};
			pcc7 {
				nvidia,pins = "pcc7";
				nvidia,function = "rsvd0";
				nvidia,pull = <TEGRA_PIN_PULL_DOWN>;
				nvidia,tristate = <TEGRA_PIN_ENABLE>;
				nvidia,enable-input = <TEGRA_PIN_DISABLE>;
				nvidia,open-drain = <TEGRA_PIN_DISABLE>;
				nvidia,io-hv = <TEGRA_PIN_DISABLE>;
			};
			spi2_cs1_pdd0 {
				nvidia,pins = "spi2_cs1_pdd0";
				nvidia,function = "spi2";
				nvidia,pull = <TEGRA_PIN_PULL_UP>;
				nvidia,tristate = <TEGRA_PIN_DISABLE>;
				nvidia,enable-input = <TEGRA_PIN_ENABLE>;
				nvidia,open-drain = <TEGRA_PIN_DISABLE>;
			};
			qspi_sck_pee0 {
				nvidia,pins = "qspi_sck_pee0";
				nvidia,function = "rsvd1";
				nvidia,pull = <TEGRA_PIN_PULL_DOWN>;
				nvidia,tristate = <TEGRA_PIN_ENABLE>;
				nvidia,enable-input = <TEGRA_PIN_DISABLE>;
				nvidia,open-drain = <TEGRA_PIN_DISABLE>;
			};
			qspi_cs_n_pee1 {
				nvidia,pins = "qspi_cs_n_pee1";
				nvidia,function = "rsvd1";
				nvidia,pull = <TEGRA_PIN_PULL_DOWN>;
				nvidia,tristate = <TEGRA_PIN_ENABLE>;
				nvidia,enable-input = <TEGRA_PIN_DISABLE>;
				nvidia,open-drain = <TEGRA_PIN_DISABLE>;
			};
			qspi_io0_pee2 {
				nvidia,pins = "qspi_io0_pee2";
				nvidia,function = "rsvd1";
				nvidia,pull = <TEGRA_PIN_PULL_DOWN>;
				nvidia,tristate = <TEGRA_PIN_ENABLE>;
				nvidia,enable-input = <TEGRA_PIN_DISABLE>;
				nvidia,open-drain = <TEGRA_PIN_DISABLE>;
			};
			qspi_io1_pee3 {
				nvidia,pins = "qspi_io1_pee3";
				nvidia,function = "rsvd1";
				nvidia,pull = <TEGRA_PIN_PULL_DOWN>;
				nvidia,tristate = <TEGRA_PIN_ENABLE>;
				nvidia,enable-input = <TEGRA_PIN_DISABLE>;
				nvidia,open-drain = <TEGRA_PIN_DISABLE>;
			};
			qspi_io2_pee4 {
				nvidia,pins = "qspi_io2_pee4";
				nvidia,function = "rsvd1";
				nvidia,pull = <TEGRA_PIN_PULL_DOWN>;
				nvidia,tristate = <TEGRA_PIN_ENABLE>;
				nvidia,enable-input = <TEGRA_PIN_DISABLE>;
				nvidia,open-drain = <TEGRA_PIN_DISABLE>;
			};
			qspi_io3_pee5 {
				nvidia,pins = "qspi_io3_pee5";
				nvidia,function = "rsvd1";
				nvidia,pull = <TEGRA_PIN_PULL_DOWN>;
				nvidia,tristate = <TEGRA_PIN_ENABLE>;
				nvidia,enable-input = <TEGRA_PIN_DISABLE>;
				nvidia,open-drain = <TEGRA_PIN_DISABLE>;
			};
			core_pwr_req {
				nvidia,pins = "core_pwr_req";
				nvidia,function = "core";
				nvidia,pull = <TEGRA_PIN_PULL_NONE>;
				nvidia,tristate = <TEGRA_PIN_DISABLE>;
				nvidia,enable-input = <TEGRA_PIN_DISABLE>;
				nvidia,open-drain = <TEGRA_PIN_DISABLE>;
			};
			cpu_pwr_req {
				nvidia,pins = "cpu_pwr_req";
				nvidia,function = "cpu";
				nvidia,pull = <TEGRA_PIN_PULL_NONE>;
				nvidia,tristate = <TEGRA_PIN_DISABLE>;
				nvidia,enable-input = <TEGRA_PIN_DISABLE>;
				nvidia,open-drain = <TEGRA_PIN_DISABLE>;
			};
			pwr_int_n {
				nvidia,pins = "pwr_int_n";
				nvidia,function = "pmi";
				nvidia,pull = <TEGRA_PIN_PULL_UP>;
				nvidia,tristate = <TEGRA_PIN_DISABLE>;
				nvidia,enable-input = <TEGRA_PIN_ENABLE>;
				nvidia,open-drain = <TEGRA_PIN_DISABLE>;
			};
			clk_32k_in {
				nvidia,pins = "clk_32k_in";
				nvidia,function = "clk";
				nvidia,pull = <TEGRA_PIN_PULL_NONE>;
				nvidia,tristate = <TEGRA_PIN_DISABLE>;
				nvidia,enable-input = <TEGRA_PIN_ENABLE>;
				nvidia,open-drain = <TEGRA_PIN_DISABLE>;
			};
			jtag_rtck {
				nvidia,pins = "jtag_rtck";
				nvidia,function = "jtag";
				nvidia,pull = <TEGRA_PIN_PULL_NONE>;
				nvidia,tristate = <TEGRA_PIN_DISABLE>;
				nvidia,enable-input = <TEGRA_PIN_DISABLE>;
				nvidia,open-drain = <TEGRA_PIN_DISABLE>;
			};
			clk_req {
				nvidia,pins = "clk_req";
				nvidia,function = "rsvd1";
				nvidia,pull = <TEGRA_PIN_PULL_DOWN>;
				nvidia,tristate = <TEGRA_PIN_ENABLE>;
				nvidia,enable-input = <TEGRA_PIN_DISABLE>;
				nvidia,open-drain = <TEGRA_PIN_DISABLE>;
			};
			shutdown {
				nvidia,pins = "shutdown";
				nvidia,function = "shutdown";
				nvidia,pull = <TEGRA_PIN_PULL_NONE>;
				nvidia,tristate = <TEGRA_PIN_DISABLE>;
				nvidia,enable-input = <TEGRA_PIN_DISABLE>;
				nvidia,open-drain = <TEGRA_PIN_DISABLE>;
			};
		};
	};

	pwm@7000a000 {
		status = "okay";
	};

	i2c@7000c400 {
		status = "okay";
		clock-frequency = <100000>;

		exp1: gpio@74 {
			compatible = "ti,tca9539";
			reg = <0x74>;

			#gpio-cells = <2>;
			gpio-controller;
		};
	};

	/* HDMI DDC */
	hdmi_ddc: i2c@7000c700 {
		status = "okay";
		clock-frequency = <100000>;
	};

	usb@70090000 {
		phys = <&{/padctl@7009f000/pads/usb2/lanes/usb2-0}>,
		       <&{/padctl@7009f000/pads/usb2/lanes/usb2-1}>,
		       <&{/padctl@7009f000/pads/usb2/lanes/usb2-2}>,
		       <&{/padctl@7009f000/pads/usb2/lanes/usb2-3}>,
		       <&{/padctl@7009f000/pads/pcie/lanes/pcie-6}>,
		       <&{/padctl@7009f000/pads/pcie/lanes/pcie-5}>;
		phy-names = "usb2-0", "usb2-1", "usb2-2", "usb2-3", "usb3-0",
			    "usb3-1";

		dvddio-pex-supply = <&vdd_pex_1v05>;
		hvddio-pex-supply = <&vdd_1v8>;
		avdd-usb-supply = <&vdd_3v3_sys>;
		/* XXX what are these? */
		avdd-pll-utmip-supply = <&vdd_1v8>;
		avdd-pll-uerefe-supply = <&vdd_pex_1v05>;
		dvdd-usb-ss-pll-supply = <&vdd_pex_1v05>;
		hvdd-usb-ss-pll-e-supply = <&vdd_1v8>;

		status = "okay";
	};

	sata@70020000 {
		status = "okay";
		phys = <&{/padctl@7009f000/pads/sata/lanes/sata-0}>;
	};

	padctl@7009f000 {
		status = "okay";

		pads {
			usb2 {
				status = "okay";

				lanes {
					usb2-0 {
						nvidia,function = "xusb";
						status = "okay";
					};

					usb2-1 {
						nvidia,function = "xusb";
						status = "okay";
					};

					usb2-2 {
						nvidia,function = "xusb";
						status = "okay";
					};

					usb2-3 {
						nvidia,function = "xusb";
						status = "okay";
					};
				};
			};

			pcie {
				status = "okay";

				lanes {
					pcie-0 {
						nvidia,function = "pcie-x1";
						status = "okay";
					};

					pcie-1 {
						nvidia,function = "pcie-x4";
						status = "okay";
					};

					pcie-2 {
						nvidia,function = "pcie-x4";
						status = "okay";
					};

					pcie-3 {
						nvidia,function = "pcie-x4";
						status = "okay";
					};

					pcie-4 {
						nvidia,function = "pcie-x4";
						status = "okay";
					};

					pcie-5 {
						nvidia,function = "usb3-ss";
						status = "okay";
					};

					pcie-6 {
						nvidia,function = "usb3-ss";
						status = "okay";
					};
				};
			};

			sata {
				status = "okay";

				lanes {
					sata-0 {
						nvidia,function = "sata";
						status = "okay";
					};
				};
			};
		};

		ports {
			usb2-0 {
				status = "okay";
				mode = "otg";
			};

			usb2-1 {
				status = "okay";
				vbus-supply = <&vdd_5v0_rtl>;
				mode = "host";
			};

			usb2-2 {
				status = "okay";
				vbus-supply = <&vdd_usb_vbus>;
				mode = "host";
			};

			usb2-3 {
				status = "okay";
				mode = "host";
			};

			usb3-0 {
				nvidia,usb2-companion = <1>;
				status = "okay";
			};

			usb3-1 {
				nvidia,usb2-companion = <2>;
				status = "okay";
			};
		};
	};

	/* MMC/SD */
	sdhci@700b0000 {
		status = "okay";
		bus-width = <4>;
		no-1-8-v;

		cd-gpios = <&gpio TEGRA_GPIO(Z, 1) GPIO_ACTIVE_LOW>;

		vqmmc-supply = <&vddio_sdmmc>;
		vmmc-supply = <&vdd_3v3_sd>;
	};

	regulators {
		compatible = "simple-bus";
		#address-cells = <1>;
		#size-cells = <0>;

		vdd_sys_mux: regulator@0 {
			compatible = "regulator-fixed";
			reg = <0>;
			regulator-name = "VDD_SYS_MUX";
			regulator-min-microvolt = <5000000>;
			regulator-max-microvolt = <5000000>;
			regulator-always-on;
			regulator-boot-on;
		};

		vdd_5v0_sys: regulator@1 {
			compatible = "regulator-fixed";
			reg = <1>;
			regulator-name = "VDD_5V0_SYS";
			regulator-min-microvolt = <5000000>;
			regulator-max-microvolt = <5000000>;
			regulator-always-on;
			regulator-boot-on;
			gpio = <&pmic 1 GPIO_ACTIVE_HIGH>;
			enable-active-high;
			vin-supply = <&vdd_sys_mux>;
		};

		vdd_3v3_sys: regulator@2 {
			compatible = "regulator-fixed";
			reg = <2>;
			regulator-name = "VDD_3V3_SYS";
			regulator-min-microvolt = <3300000>;
			regulator-max-microvolt = <3300000>;
			regulator-always-on;
			regulator-boot-on;
			gpio = <&pmic 3 GPIO_ACTIVE_HIGH>;
			enable-active-high;
			vin-supply = <&vdd_sys_mux>;

			regulator-enable-ramp-delay = <160>;
			regulator-disable-ramp-delay = <10000>;
		};

		vdd_5v0_io: regulator@3 {
			compatible = "regulator-fixed";
			reg = <3>;
			regulator-name = "VDD_5V0_IO_SYS";
			regulator-min-microvolt = <5000000>;
			regulator-max-microvolt = <5000000>;
			regulator-always-on;
			regulator-boot-on;
		};

		vdd_3v3_sd: regulator@4 {
			compatible = "regulator-fixed";
			reg = <4>;
			regulator-name = "VDD_3V3_SD";
			regulator-min-microvolt = <3300000>;
			regulator-max-microvolt = <3300000>;
			gpio = <&gpio TEGRA_GPIO(Z, 4) GPIO_ACTIVE_HIGH>;
			enable-active-high;
			vin-supply = <&vdd_3v3_sys>;

			regulator-enable-ramp-delay = <472>;
			regulator-disable-ramp-delay = <4880>;
		};

		vdd_dsi_csi: regulator@5 {
			compatible = "regulator-fixed";
			reg = <5>;
			regulator-name = "AVDD_DSI_CSI_1V2";
			regulator-min-microvolt = <1200000>;
			regulator-max-microvolt = <1200000>;
			vin-supply = <&vdd_sys_1v2>;
		};

		vdd_3v3_dis: regulator@6 {
			compatible = "regulator-fixed";
			reg = <6>;
			regulator-name = "VDD_DIS_3V3_LCD";
			regulator-min-microvolt = <3300000>;
			regulator-max-microvolt = <3300000>;
			regulator-always-on;
			gpio = <&exp1 3 GPIO_ACTIVE_HIGH>;
			enable-active-high;
			vin-supply = <&vdd_3v3_sys>;
		};

		vdd_1v8_dis: regulator@7 {
			compatible = "regulator-fixed";
			reg = <7>;
			regulator-name = "VDD_LCD_1V8_DIS";
			regulator-min-microvolt = <1800000>;
			regulator-max-microvolt = <1800000>;
			regulator-always-on;
			gpio = <&exp1 14 GPIO_ACTIVE_HIGH>;
			enable-active-high;
			vin-supply = <&vdd_1v8>;
		};

		vdd_5v0_rtl: regulator@8 {
			compatible = "regulator-fixed";
			reg = <8>;
			regulator-name = "RTL_5V";
			regulator-min-microvolt = <5000000>;
			regulator-max-microvolt = <5000000>;
			gpio = <&gpio TEGRA_GPIO(H, 1) GPIO_ACTIVE_HIGH>;
			enable-active-high;
			vin-supply = <&vdd_5v0_sys>;
		};

		vdd_usb_vbus: regulator@9 {
			compatible = "regulator-fixed";
			reg = <9>;
			regulator-name = "USB_VBUS_EN1";
			regulator-min-microvolt = <5000000>;
			regulator-max-microvolt = <5000000>;
			gpio = <&gpio TEGRA_GPIO(CC, 5) GPIO_ACTIVE_HIGH>;
			enable-active-high;
			vin-supply = <&vdd_5v0_sys>;
		};

		vdd_hdmi: regulator@10 {
			compatible = "regulator-fixed";
			reg = <10>;
			regulator-name = "VDD_HDMI_5V0";
			regulator-min-microvolt = <5000000>;
			regulator-max-microvolt = <5000000>;
			gpio = <&exp1 12 GPIO_ACTIVE_LOW>;
			enable-active-high;
			vin-supply = <&vdd_5v0_sys>;
		};
	};

	gpio-keys {
		compatible = "gpio-keys";
		label = "gpio-keys";

		power {
			label = "Power";
			gpios = <&gpio TEGRA_GPIO(X, 5) GPIO_ACTIVE_LOW>;
			linux,code = <KEY_POWER>;
			wakeup-source;
		};

		volume_down {
			label = "Volume Down";
			gpios = <&gpio TEGRA_GPIO(Y, 0) GPIO_ACTIVE_LOW>;
			linux,code = <KEY_VOLUMEDOWN>;
		};

		volume_up {
			label = "Volume Up";
			gpios = <&gpio TEGRA_GPIO(X, 6) GPIO_ACTIVE_LOW>;
			linux,code = <KEY_VOLUMEUP>;
		};
	};
};
